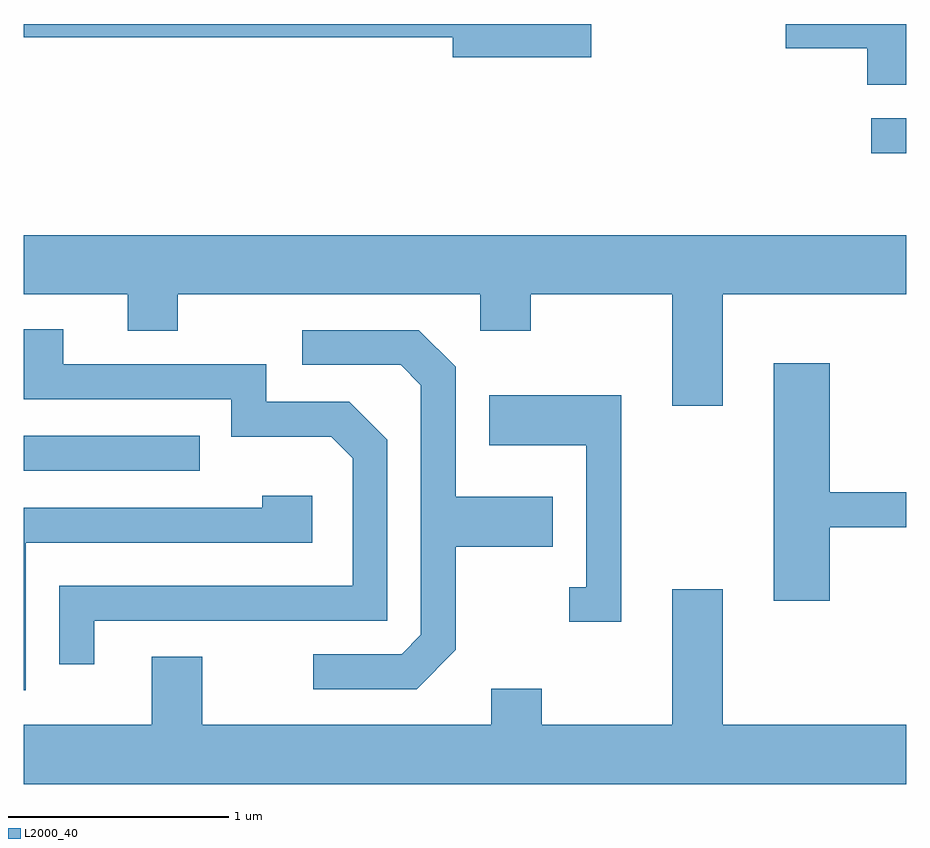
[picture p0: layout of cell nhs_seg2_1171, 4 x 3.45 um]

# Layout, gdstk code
import gdstk
lib = gdstk.Library(unit=1e-6, precision=1e-09)
def R(c, l, rs):  # rectangles x0, y0, x1, y1
    for r in rs: c.add(gdstk.rectangle(r[:2], r[2:], *l))
def P(c, l, *ps):  # polygons
    for p in ps: c.add(gdstk.Polygon(p, *l))
L2000_40 = (2000, 40)

nhs_seg2_1171 = lib.new_cell('nhs_seg2_1171')
R(nhs_seg2_1171, L2000_40, [(219.611,1009.776,220.408,1009.934), (223.453,1011.216,223.611,1011.374)])
P(nhs_seg2_1171, L2000_40, [(223.611,1011.802),(223.066,1011.802),(223.066,1011.691),(223.436,1011.691),(223.436,1011.526),(223.611,1011.526)],
  [(222.184,1011.802),(219.611,1011.802),(219.611,1011.741),(221.556,1011.741),(221.556,1011.651),(222.184,1011.651)],
  [(222.779,1010.576),(223.611,1010.576),(223.611,1010.844),(219.611,1010.844),(219.611,1010.576),(220.081,1010.576),(220.081,1010.411),(220.309,1010.411),(220.309,1010.576),(221.681,1010.576),(221.681,1010.411),(221.909,1010.411),(221.909,1010.576),(222.551,1010.576),(222.551,1010.071),(222.779,1010.071)],
  [(219.929,1009.096),(221.259,1009.096),(221.259,1009.917),(221.087,1010.089),(220.709,1010.089),(220.709,1010.259),(219.789,1010.259),(219.789,1010.419),(219.611,1010.419),(219.611,1010.101),(220.551,1010.101),(220.551,1009.931),(221.004,1009.931),(221.101,1009.834),(221.101,1009.254),(219.771,1009.254),(219.771,1008.898),(219.929,1008.898)],
  [(221.569,1008.964),(221.569,1009.431),(222.009,1009.431),(222.009,1009.659),(221.569,1009.659),(221.569,1010.247),(221.402,1010.414),(220.873,1010.414),(220.873,1010.256),(221.319,1010.256),(221.411,1010.164),(221.411,1009.032),(221.324,1008.944),(220.923,1008.944),(220.923,1008.786),(221.392,1008.786)],
  [(223.264,1009.521),(223.611,1009.521),(223.611,1009.679),(223.264,1009.679),(223.264,1010.264),(223.011,1010.264),(223.011,1009.186),(223.264,1009.186)],
  [(222.319,1010.119),(221.721,1010.119),(221.721,1009.891),(222.161,1009.891),(222.161,1009.249),(222.083,1009.249),(222.083,1009.091),(222.319,1009.091)],
  [(219.619,1009.451),(220.919,1009.451),(220.919,1009.664),(220.691,1009.664),(220.691,1009.609),(219.611,1009.609),(219.611,1008.781),(219.619,1008.781)],
  [(222.551,1009.239),(222.551,1008.624),(221.959,1008.624),(221.959,1008.789),(221.731,1008.789),(221.731,1008.624),(220.419,1008.624),(220.419,1008.934),(220.191,1008.934),(220.191,1008.624),(219.611,1008.624),(219.611,1008.356),(223.611,1008.356),(223.611,1008.624),(222.779,1008.624),(222.779,1009.239)])

lib.write_gds('nhs_seg2_1171.gds')
